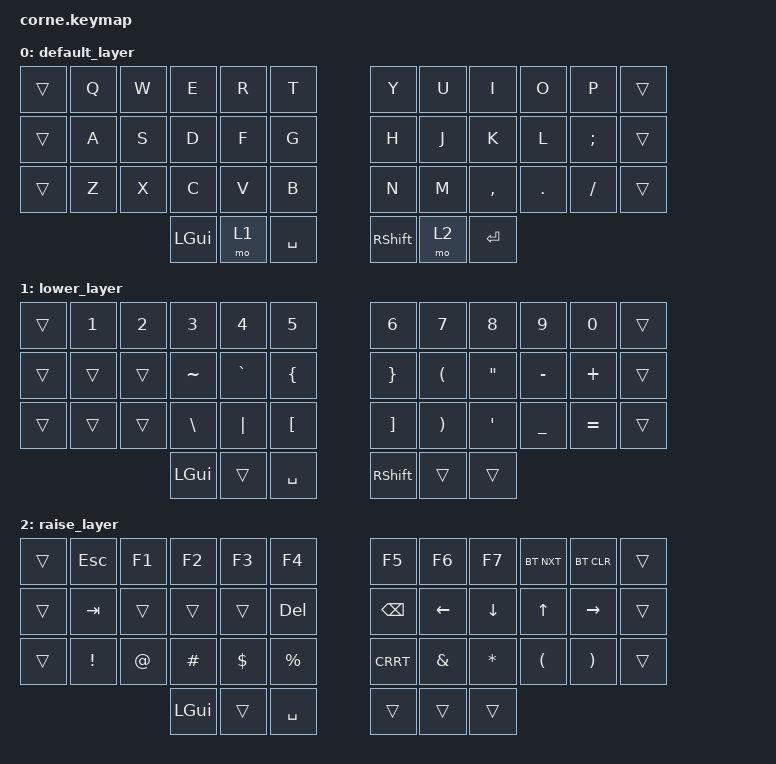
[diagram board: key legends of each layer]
/*
 * copyright (c) 2020 the zmk contributors
 *
 * spdx-license-identifier: mit
 */

#include <behaviors.dtsi>
#include <dt-bindings/zmk/keys.h>
#include <dt-bindings/zmk/bt.h>

/ {
    combos {
        compatible = "zmk,combos";
        ctrl {
            key-positions = <33 34>;
            bindings = <&kp LCTRL>;
        };
    };
    keymap {
        compatible = "zmk,keymap";

        default_layer {
            // -----------------------------------------------------------------------------------------
            // |  Q  |  W  |  E  |  R  |  T  |   |  Y  |  U   |  I  |  O  |  P  |
            // |  A  |  S  |  D  |  F  |  G  |   |  H  |  J   |  K  |  L  |  ;  |
            // |  Z  |  X  |  C  |  V  |  B  |   |  N  |  M   |  ,  |  .  |  /  | 
            //             | LGUI| LWR |SPACE|   |RSHIFT| RSE | ENT |
            bindings = <
                &trans &kp Q &kp W &kp E &kp R &kp T   &kp Y &kp U &kp I &kp O &kp P &trans
                &trans &kp A &kp S &kp D &kp F &kp G   &kp H &kp J &kp K &kp L &kp SEMI &trans
                &trans &kp Z &kp X &kp C &kp V &kp B   &kp N &kp M &kp COMMA &kp DOT &kp SLASH &trans
                &kp LGUI &mo 1 &kp SPACE   &kp RSHIFT &mo 2 &kp RETURN
                >;
        };
        lower_layer {
            // -----------------------------------------------------------------------------------------
            // |  1  |  2  |  3  |  4  |  5  |   |  6  |  7   |  8  |  9  |  0  |
            // |     |     |  ~  |  `  |  {  |   |  }  |  (   |  "  |  -  |  + |
            // |     |     |  \  |  |  |  [  |   |  ]  |  )   |  '  |  _  |  = |
            //             | LGUI|     |SPACE|   |     |      |     |
            bindings = <
                &trans &kp NUMBER_1 &kp NUMBER_2 &kp NUMBER_3 &kp NUMBER_4 &kp NUMBER_5      &kp NUMBER_6 &kp NUMBER_7 &kp NUMBER_8 &kp NUMBER_9 &kp NUMBER_0 &trans
                &trans &trans &trans &kp TILDE &kp GRAVE &kp LBRC      &kp RBRC &kp LPAR &kp DQT &kp MINUS &kp PLUS &trans
                &trans &trans &trans &kp BSLH &kp PIPE &kp LBKT    &kp RBKT &kp RPAR &kp SQT &kp UNDER &kp EQUAL &trans
                &kp LGUI &trans &kp SPACE     &kp RSHIFT &trans &trans
                >;
        };

        raise_layer {
            // -----------------------------------------------------------------------------------------
            // | ESC |  F1 |  F2 |  F3 |  F4 |   | F5  |  F6  |  F7 |BT_NXT|BT_CL|
            // | TAB |     |     |     | DEL |   | BSPC| LEFT | DOWN| UP  |RIGHT|
            // |  !  |  @  |  #  |  $  |  %  |   |  ^  |  &   |  *  |     |     |
            //             | LGUI|     |SPACE|   |     |      |     |

            bindings = <
                &trans  &kp ESC &kp F1 &kp F2 &kp F3 &kp F4    &kp F5 &kp F6 &kp F7 &bt BT_NXT  &bt BT_CLR  &trans
                &trans &kp TAB &trans &trans &trans &kp DELETE   &kp BSPC &kp LEFT &kp DOWN &kp UP &kp RIGHT &trans
                &trans &kp EXCL &kp AT &kp POUND &kp DLLR &kp PRCNT   &kp CRRT &kp AMPS &kp ASTRK &kp LPAR &kp RPAR &trans
                &kp LGUI &trans &kp SPACE   &trans &trans &trans
                >;
        };
    };
};
